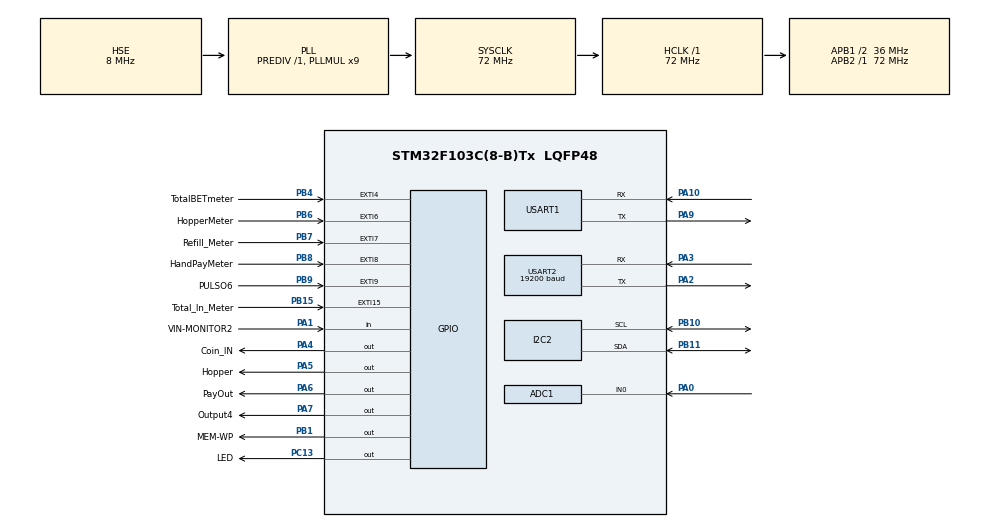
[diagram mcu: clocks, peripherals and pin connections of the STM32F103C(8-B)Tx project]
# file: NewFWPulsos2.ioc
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ADC1.Channel-0\#ChannelRegularConversion=ADC_CHANNEL_0
ADC1.ContinuousConvMode=ENABLE
ADC1.NbrOfConversionFlag=1
ADC1.Rank-0\#ChannelRegularConversion=1
ADC1.SamplingTime-0\#ChannelRegularConversion=ADC_SAMPLETIME_1CYCLE_5
ADC1.master=1
Dma.Request0=USART1_RX
Dma.Request1=USART1_TX
Dma.Request2=USART2_RX
Dma.Request3=USART2_TX
Dma.USART1_RX.0.Direction=DMA_PERIPH_TO_MEMORY
Dma.USART1_RX.0.Instance=DMA1_Channel5
Dma.USART1_RX.0.MemDataAlignment=DMA_MDATAALIGN_BYTE
Dma.USART1_RX.0.MemInc=DMA_MINC_ENABLE
Dma.USART1_RX.0.Mode=DMA_NORMAL
Dma.USART1_RX.0.PeriphDataAlignment=DMA_PDATAALIGN_BYTE
Dma.USART1_RX.0.PeriphInc=DMA_PINC_DISABLE
Dma.USART1_RX.0.Priority=DMA_PRIORITY_LOW
Dma.USART1_TX.1.Direction=DMA_MEMORY_TO_PERIPH
Dma.USART1_TX.1.Instance=DMA1_Channel4
Dma.USART1_TX.1.MemDataAlignment=DMA_MDATAALIGN_BYTE
Dma.USART1_TX.1.MemInc=DMA_MINC_ENABLE
Dma.USART1_TX.1.Mode=DMA_NORMAL
Dma.USART1_TX.1.PeriphDataAlignment=DMA_PDATAALIGN_BYTE
Dma.USART1_TX.1.PeriphInc=DMA_PINC_DISABLE
Dma.USART1_TX.1.Priority=DMA_PRIORITY_LOW
Dma.USART2_RX.2.Direction=DMA_PERIPH_TO_MEMORY
Dma.USART2_RX.2.Instance=DMA1_Channel6
Dma.USART2_RX.2.MemDataAlignment=DMA_MDATAALIGN_HALFWORD
Dma.USART2_RX.2.MemInc=DMA_MINC_ENABLE
Dma.USART2_RX.2.Mode=DMA_CIRCULAR
Dma.USART2_RX.2.PeriphDataAlignment=DMA_PDATAALIGN_HALFWORD
Dma.USART2_RX.2.PeriphInc=DMA_PINC_DISABLE
Dma.USART2_RX.2.Priority=DMA_PRIORITY_LOW
Dma.USART2_TX.3.Direction=DMA_MEMORY_TO_PERIPH
Dma.USART2_TX.3.Instance=DMA1_Channel7
Dma.USART2_TX.3.MemDataAlignment=DMA_MDATAALIGN_HALFWORD
Dma.USART2_TX.3.MemInc=DMA_MINC_ENABLE
Dma.USART2_TX.3.Mode=DMA_NORMAL
Dma.USART2_TX.3.PeriphDataAlignment=DMA_PDATAALIGN_HALFWORD
Dma.USART2_TX.3.PeriphInc=DMA_PINC_DISABLE
Dma.USART2_TX.3.Priority=DMA_PRIORITY_LOW
I2C2.I2C_Mode=I2C_Fast
IWDG.Prescaler=IWDG_PRESCALER_64
IWDG.Reload=3749
Mcu.Family=STM32F1
Mcu.Name=STM32F103C(8-B)Tx
Mcu.Package=LQFP48
NVIC.DMA1_Channel4_IRQn=true\:0\:0\:false\:false\:true\:false\:true\:true
NVIC.DMA1_Channel5_IRQn=true\:0\:0\:false\:false\:true\:false\:true\:true
NVIC.DMA1_Channel6_IRQn=true\:0\:0\:false\:false\:true\:false\:true\:true
NVIC.DMA1_Channel7_IRQn=true\:0\:0\:false\:false\:true\:false\:true\:true
NVIC.EXTI15_10_IRQn=true\:0\:0\:false\:false\:true\:true\:true\:true
NVIC.EXTI4_IRQn=true\:0\:0\:false\:false\:true\:true\:true\:true
NVIC.EXTI9_5_IRQn=true\:0\:0\:false\:false\:true\:true\:true\:true
NVIC.PriorityGroup=NVIC_PRIORITYGROUP_4
NVIC.TIM2_IRQn=true\:0\:0\:false\:false\:true\:true\:true\:true
NVIC.USART1_IRQn=true\:0\:0\:false\:false\:true\:true\:true\:true
NVIC.USART2_IRQn=true\:0\:0\:false\:false\:true\:true\:true\:true
PA0-WKUP.Signal=ADCx_IN0
PA1.GPIO_Label=VIN-MONITOR2
PA1.Signal=GPIO_Input
PA10.Mode=Asynchronous
PA10.Signal=USART1_RX
PA2.Mode=Asynchronous
PA2.Signal=USART2_TX
PA3.Mode=Asynchronous
PA3.Signal=USART2_RX
PA4.GPIO_Label=Coin_IN
PA4.PinState=GPIO_PIN_SET
PA4.Signal=GPIO_Output
PA5.GPIO_Label=Hopper
PA5.PinState=GPIO_PIN_SET
PA5.Signal=GPIO_Output
PA6.GPIO_Label=PayOut
PA6.PinState=GPIO_PIN_SET
PA6.Signal=GPIO_Output
PA7.GPIO_Label=Output4
PA7.PinState=GPIO_PIN_SET
PA7.Signal=GPIO_Output
PA9.Mode=Asynchronous
PA9.Signal=USART1_TX
PB1.GPIO_Label=MEM-WP
PB1.Signal=GPIO_Output
PB10.Mode=I2C
PB10.Signal=I2C2_SCL
PB11.Mode=I2C
PB11.Signal=I2C2_SDA
PB15.GPIO_Label=Total_In_Meter
PB15.Signal=GPXTI15
PB4.GPIO_Label=TotalBETmeter
PB4.Signal=GPXTI4
PB6.GPIO_Label=HopperMeter
PB6.Signal=GPXTI6
PB7.GPIO_Label=Refill_Meter
PB7.Signal=GPXTI7
PB8.GPIO_Label=HandPayMeter
PB8.Signal=GPXTI8
PB9.GPIO_Label=PULSO6
PB9.Signal=GPXTI9
PC13-TAMPER-RTC.GPIO_Label=LED
PC13-TAMPER-RTC.Signal=GPIO_Output
PD0-OSC_IN.Mode=HSE-External-Oscillator
PD0-OSC_IN.Signal=RCC_OSC_IN
PD1-OSC_OUT.Mode=HSE-External-Oscillator
PD1-OSC_OUT.Signal=RCC_OSC_OUT
ProjectManager.HeapSize=0x200
ProjectManager.StackSize=0x400
ProjectManager.TargetToolchain=STM32CubeIDE
RCC.ADCPresc=RCC_ADCPCLK2_DIV6
RCC.AHBFreq_Value=72000000
RCC.APB1CLKDivider=RCC_HCLK_DIV2
RCC.APB1Freq_Value=36000000
RCC.APB1TimFreq_Value=72000000
RCC.APB2Freq_Value=72000000
RCC.APB2TimFreq_Value=72000000
RCC.HCLKFreq_Value=72000000
RCC.PLLMUL=RCC_PLL_MUL9
RCC.PLLSourceVirtual=RCC_PLLSOURCE_HSE
RCC.SYSCLKFreq_VALUE=72000000
RCC.SYSCLKSource=RCC_SYSCLKSOURCE_PLLCLK
RCC.USBFreq_Value=72000000
SH.ADCx_IN0.0=ADC1_IN0,IN0
TIM2.Period=800-1
TIM2.Prescaler=7200-1
TIM4.Prescaler=7200-1
USART1.VirtualMode=VM_ASYNC
USART2.BaudRate=19200
USART2.VirtualMode=VM_ASYNC
USART2.WordLength=WORDLENGTH_9B
VP_IWDG_VS_IWDG.Mode=IWDG_Activate
VP_SYS_VS_ND.Mode=No_Debug
VP_TIM2_VS_ClockSourceINT.Mode=Internal
VP_TIM4_VS_ClockSourceINT.Mode=Internal
board=custom

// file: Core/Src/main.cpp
/* USER CODE BEGIN Header */
/**
  ******************************************************************************
  * @file           : main.cpp
  * @brief          : Main program body
  ******************************************************************************
  * @attention
  *
  * Copyright (c) 2026 STMicroelectronics.
  * All rights reserved.
  *
  * This software is licensed under terms that can be found in the LICENSE file
  * in the root directory of this software component.
  * If no LICENSE file comes with this software, it is provided AS-IS.
  *
  ******************************************************************************
  */
/* USER CODE END Header */
#include "main.h"
#include "../SM_Class/StateMachine.h"

ADC_HandleTypeDef hadc1;

I2C_HandleTypeDef hi2c2;

IWDG_HandleTypeDef hiwdg;

TIM_HandleTypeDef htim2;
TIM_HandleTypeDef htim4;

UART_HandleTypeDef huart1;
UART_HandleTypeDef huart2;
DMA_HandleTypeDef hdma_usart1_rx;
DMA_HandleTypeDef hdma_usart1_tx;
DMA_HandleTypeDef hdma_usart2_rx;
DMA_HandleTypeDef hdma_usart2_tx;

void SystemClock_Config(void);
static void MX_GPIO_Init(void);
static void MX_DMA_Init(void);
static void MX_I2C2_Init(void);
static void MX_TIM4_Init(void);
static void MX_USART1_UART_Init(void);
static void MX_USART2_UART_Init(void);
static void MX_TIM2_Init(void);
static void MX_ADC1_Init(void);
static void MX_IWDG_Init(void);

/* USER CODE BEGIN 0 */

volatile Flags Obj_Flags = {0,0,0,0,0,0};

StateMachine SM_Obj;
static PulseGenerator& pulse = PulseGenerator::getInstance();

/* USER CODE END 0 */

int main(void)
{

  /* MCU Configuration--------------------------------------------------------*/

  /* Reset of all peripherals, Initializes the Flash interface and the Systick. */
  HAL_Init();

  /* Configure the system clock */
  SystemClock_Config();

  /* Initialize all configured peripherals */
  MX_GPIO_Init();
   MX_DMA_Init();
   MX_I2C2_Init();
   MX_TIM4_Init();
   MX_USART1_UART_Init();
   MX_USART2_UART_Init();
   MX_TIM2_Init();
   MX_ADC1_Init();
   MX_IWDG_Init();
  /* USER CODE BEGIN 2 */

  /* ── INTEGRAR: inicializar librería ── */
  pulse.init(&htim2, GPIOA, Hopper_Pin);   /* Pin del hopper */

  HAL_ADCEx_Calibration_Start(&hadc1);
  HAL_ADC_Start(&hadc1);

  SM_Obj.Asigna_Perifericos( &htim4, &huart1, &huart2, &hiwdg,  &hi2c2, &hadc1, &pulse);

  /* USER CODE END 2 */

  /* Infinite loop */
  while (1)
  {

    /* USER CODE BEGIN 3 */

	  SM_Obj.runStateMachine( Obj_Flags) ;

  }
  /* USER CODE END 3 */
}

void SystemClock_Config(void)
{
  RCC_OscInitTypeDef RCC_OscInitStruct = {0};
  RCC_ClkInitTypeDef RCC_ClkInitStruct = {0};
  RCC_PeriphCLKInitTypeDef PeriphClkInit = {0};

  /** Initializes the RCC Oscillators according to the specified parameters
  * in the RCC_OscInitTypeDef structure.
  */
  RCC_OscInitStruct.OscillatorType = RCC_OSCILLATORTYPE_LSI|RCC_OSCILLATORTYPE_HSE;
  RCC_OscInitStruct.HSEState = RCC_HSE_ON;
  RCC_OscInitStruct.HSEPredivValue = RCC_HSE_PREDIV_DIV1;
  RCC_OscInitStruct.HSIState = RCC_HSI_ON;
  RCC_OscInitStruct.LSIState = RCC_LSI_ON;
  RCC_OscInitStruct.PLL.PLLState = RCC_PLL_ON;
  RCC_OscInitStruct.PLL.PLLSource = RCC_PLLSOURCE_HSE;
  RCC_OscInitStruct.PLL.PLLMUL = RCC_PLL_MUL9;
  if (HAL_RCC_OscConfig(&RCC_OscInitStruct) != HAL_OK)
  {
    Error_Handler();
  }

  /** Initializes the CPU, AHB and APB buses clocks
  */
  RCC_ClkInitStruct.ClockType = RCC_CLOCKTYPE_HCLK|RCC_CLOCKTYPE_SYSCLK
                              |RCC_CLOCKTYPE_PCLK1|RCC_CLOCKTYPE_PCLK2;
  RCC_ClkInitStruct.SYSCLKSource = RCC_SYSCLKSOURCE_PLLCLK;
  RCC_ClkInitStruct.AHBCLKDivider = RCC_SYSCLK_DIV1;
  RCC_ClkInitStruct.APB1CLKDivider = RCC_HCLK_DIV2;
  RCC_ClkInitStruct.APB2CLKDivider = RCC_HCLK_DIV1;

  if (HAL_RCC_ClockConfig(&RCC_ClkInitStruct, FLASH_LATENCY_2) != HAL_OK)
  {
    Error_Handler();
  }
  PeriphClkInit.PeriphClockSelection = RCC_PERIPHCLK_ADC;
  PeriphClkInit.AdcClockSelection = RCC_ADCPCLK2_DIV6;
  if (HAL_RCCEx_PeriphCLKConfig(&PeriphClkInit) != HAL_OK)
  {
    Error_Handler();
  }
}

static void MX_ADC1_Init(void)
{

  ADC_ChannelConfTypeDef sConfig = {0};

  /** Common config
  */
  hadc1.Instance = ADC1;
  hadc1.Init.ScanConvMode = ADC_SCAN_DISABLE;
  hadc1.Init.ContinuousConvMode = ENABLE;
  hadc1.Init.DiscontinuousConvMode = DISABLE;
  hadc1.Init.ExternalTrigConv = ADC_SOFTWARE_START;
  hadc1.Init.DataAlign = ADC_DATAALIGN_RIGHT;
  hadc1.Init.NbrOfConversion = 1;
  if (HAL_ADC_Init(&hadc1) != HAL_OK)
  {
    Error_Handler();
  }

  /** Configure Regular Channel
  */
  sConfig.Channel = ADC_CHANNEL_0;
  sConfig.Rank = ADC_REGULAR_RANK_1;
  sConfig.SamplingTime = ADC_SAMPLETIME_1CYCLE_5;
  if (HAL_ADC_ConfigChannel(&hadc1, &sConfig) != HAL_OK)
  {
    Error_Handler();
  }

}

static void MX_I2C2_Init(void)
{

  hi2c2.Instance = I2C2;
  hi2c2.Init.ClockSpeed = 400000;
  hi2c2.Init.DutyCycle = I2C_DUTYCYCLE_2;
  hi2c2.Init.OwnAddress1 = 0;
  hi2c2.Init.AddressingMode = I2C_ADDRESSINGMODE_7BIT;
  hi2c2.Init.DualAddressMode = I2C_DUALADDRESS_DISABLE;
  hi2c2.Init.OwnAddress2 = 0;
  hi2c2.Init.GeneralCallMode = I2C_GENERALCALL_DISABLE;
  hi2c2.Init.NoStretchMode = I2C_NOSTRETCH_DISABLE;
  if (HAL_I2C_Init(&hi2c2) != HAL_OK)
  {
    Error_Handler();
  }

}

static void MX_IWDG_Init(void)
{

  hiwdg.Instance = IWDG;
  hiwdg.Init.Prescaler = IWDG_PRESCALER_64;
  hiwdg.Init.Reload = 3749;
  if (HAL_IWDG_Init(&hiwdg) != HAL_OK)
  {
    Error_Handler();
  }

}

static void MX_TIM2_Init(void)
{

  TIM_ClockConfigTypeDef sClockSourceConfig = {0};
  TIM_MasterConfigTypeDef sMasterConfig = {0};

  htim2.Instance = TIM2;
  htim2.Init.Prescaler = 7200-1;
  htim2.Init.CounterMode = TIM_COUNTERMODE_UP;
  htim2.Init.Period = 800-1;
  htim2.Init.ClockDivision = TIM_CLOCKDIVISION_DIV1;
  htim2.Init.AutoReloadPreload = TIM_AUTORELOAD_PRELOAD_DISABLE;
  if (HAL_TIM_Base_Init(&htim2) != HAL_OK)
  {
    Error_Handler();
  }
  sClockSourceConfig.ClockSource = TIM_CLOCKSOURCE_INTERNAL;
  if (HAL_TIM_ConfigClockSource(&htim2, &sClockSourceConfig) != HAL_OK)
  {
    Error_Handler();
  }
  sMasterConfig.MasterOutputTrigger = TIM_TRGO_RESET;
  sMasterConfig.MasterSlaveMode = TIM_MASTERSLAVEMODE_DISABLE;
  if (HAL_TIMEx_MasterConfigSynchronization(&htim2, &sMasterConfig) != HAL_OK)
  {
    Error_Handler();
  }

}

static void MX_TIM4_Init(void)
{

  TIM_ClockConfigTypeDef sClockSourceConfig = {0};
  TIM_MasterConfigTypeDef sMasterConfig = {0};

  htim4.Instance = TIM4;
  htim4.Init.Prescaler = 7200-1;
  htim4.Init.CounterMode = TIM_COUNTERMODE_UP;
  htim4.Init.Period = 65535;
  htim4.Init.ClockDivision = TIM_CLOCKDIVISION_DIV1;
  htim4.Init.AutoReloadPreload = TIM_AUTORELOAD_PRELOAD_DISABLE;
  if (HAL_TIM_Base_Init(&htim4) != HAL_OK)
  {
    Error_Handler();
  }
  sClockSourceConfig.ClockSource = TIM_CLOCKSOURCE_INTERNAL;
  if (HAL_TIM_ConfigClockSource(&htim4, &sClockSourceConfig) != HAL_OK)
  {
    Error_Handler();
  }
  sMasterConfig.MasterOutputTrigger = TIM_TRGO_RESET;
  sMasterConfig.MasterSlaveMode = TIM_MASTERSLAVEMODE_DISABLE;
  if (HAL_TIMEx_MasterConfigSynchronization(&htim4, &sMasterConfig) != HAL_OK)
  {
    Error_Handler();
  }

}

static void MX_USART1_UART_Init(void)
{

  huart1.Instance = USART1;
  huart1.Init.BaudRate = 115200;
  huart1.Init.WordLength = UART_WORDLENGTH_8B;
  huart1.Init.StopBits = UART_STOPBITS_1;
  huart1.Init.Parity = UART_PARITY_NONE;
  huart1.Init.Mode = UART_MODE_TX_RX;
  huart1.Init.HwFlowCtl = UART_HWCONTROL_NONE;
  huart1.Init.OverSampling = UART_OVERSAMPLING_16;
  if (HAL_UART_Init(&huart1) != HAL_OK)
  {
    Error_Handler();
  }

}

static void MX_USART2_UART_Init(void)
{

  huart2.Instance = USART2;
  huart2.Init.BaudRate = 19200;
  huart2.Init.WordLength = UART_WORDLENGTH_9B;
  huart2.Init.StopBits = UART_STOPBITS_1;
  huart2.Init.Parity = UART_PARITY_NONE;
  huart2.Init.Mode = UART_MODE_TX_RX;
  huart2.Init.HwFlowCtl = UART_HWCONTROL_NONE;
  huart2.Init.OverSampling = UART_OVERSAMPLING_16;
  if (HAL_UART_Init(&huart2) != HAL_OK)
  {
    Error_Handler();
  }

}

static void MX_DMA_Init(void)
{

  /* DMA controller clock enable */
  __HAL_RCC_DMA1_CLK_ENABLE();

  /* DMA interrupt init */
  /* DMA1_Channel4_IRQn interrupt configuration */
  HAL_NVIC_SetPriority(DMA1_Channel4_IRQn, 0, 0);
  HAL_NVIC_EnableIRQ(DMA1_Channel4_IRQn);
  /* DMA1_Channel5_IRQn interrupt configuration */
  HAL_NVIC_SetPriority(DMA1_Channel5_IRQn, 0, 0);
  HAL_NVIC_EnableIRQ(DMA1_Channel5_IRQn);
  /* DMA1_Channel6_IRQn interrupt configuration */
  HAL_NVIC_SetPriority(DMA1_Channel6_IRQn, 0, 0);
  HAL_NVIC_EnableIRQ(DMA1_Channel6_IRQn);
  /* DMA1_Channel7_IRQn interrupt configuration */
  HAL_NVIC_SetPriority(DMA1_Channel7_IRQn, 0, 0);
  HAL_NVIC_EnableIRQ(DMA1_Channel7_IRQn);

}

static void MX_GPIO_Init(void)
{
  GPIO_InitTypeDef GPIO_InitStruct = {0};

  /* GPIO Ports Clock Enable */
  __HAL_RCC_GPIOC_CLK_ENABLE();
  __HAL_RCC_GPIOD_CLK_ENABLE();
  __HAL_RCC_GPIOA_CLK_ENABLE();
  __HAL_RCC_GPIOB_CLK_ENABLE();

  /*Configure GPIO pin Output Level */
  HAL_GPIO_WritePin(LED_GPIO_Port, LED_Pin, GPIO_PIN_RESET);

  /*Configure GPIO pin Output Level */
  HAL_GPIO_WritePin(GPIOA, Coin_IN_Pin|Hopper_Pin|PayOut_Pin|Output4_Pin, GPIO_PIN_SET);

  /*Configure GPIO pin Output Level */
  HAL_GPIO_WritePin(MEM_WP_GPIO_Port, MEM_WP_Pin, GPIO_PIN_RESET);

  /*Configure GPIO pin : LED_Pin */
  GPIO_InitStruct.Pin = LED_Pin;
  GPIO_InitStruct.Mode = GPIO_MODE_OUTPUT_PP;
  GPIO_InitStruct.Pull = GPIO_NOPULL;
  GPIO_InitStruct.Speed = GPIO_SPEED_FREQ_LOW;
  HAL_GPIO_Init(LED_GPIO_Port, &GPIO_InitStruct);

  /*Configure GPIO pin : VIN_MONITOR2_Pin */
  GPIO_InitStruct.Pin = VIN_MONITOR2_Pin;
  GPIO_InitStruct.Mode = GPIO_MODE_INPUT;
  GPIO_InitStruct.Pull = GPIO_NOPULL;
  HAL_GPIO_Init(VIN_MONITOR2_GPIO_Port, &GPIO_InitStruct);

  /*Configure GPIO pins : Coin_IN_Pin Hopper_Pin PayOut_Pin Output4_Pin */
  GPIO_InitStruct.Pin = Coin_IN_Pin|Hopper_Pin|PayOut_Pin|Output4_Pin;
  GPIO_InitStruct.Mode = GPIO_MODE_OUTPUT_PP;
  GPIO_InitStruct.Pull = GPIO_NOPULL;
  GPIO_InitStruct.Speed = GPIO_SPEED_FREQ_LOW;
  HAL_GPIO_Init(GPIOA, &GPIO_InitStruct);

  /*Configure GPIO pin : MEM_WP_Pin */
  GPIO_InitStruct.Pin = MEM_WP_Pin;
  GPIO_InitStruct.Mode = GPIO_MODE_OUTPUT_PP;
  GPIO_InitStruct.Pull = GPIO_NOPULL;
  GPIO_InitStruct.Speed = GPIO_SPEED_FREQ_LOW;
  HAL_GPIO_Init(MEM_WP_GPIO_Port, &GPIO_InitStruct);

  /*Configure GPIO pins : Total_In_Meter_Pin TotalBETmeter_Pin HopperMeter_Pin Refill_Meter_Pin
                           HandPayMeter_Pin PULSO6_Pin */
  GPIO_InitStruct.Pin = Total_In_Meter_Pin|TotalBETmeter_Pin|HopperMeter_Pin|Refill_Meter_Pin
                          |HandPayMeter_Pin|PULSO6_Pin;
  GPIO_InitStruct.Mode = GPIO_MODE_IT_RISING;
  GPIO_InitStruct.Pull = GPIO_NOPULL;
  HAL_GPIO_Init(GPIOB, &GPIO_InitStruct);

  /* EXTI interrupt init*/
  HAL_NVIC_SetPriority(EXTI4_IRQn, 0, 0);
  HAL_NVIC_EnableIRQ(EXTI4_IRQn);

  HAL_NVIC_SetPriority(EXTI9_5_IRQn, 0, 0);
  HAL_NVIC_EnableIRQ(EXTI9_5_IRQn);

  HAL_NVIC_SetPriority(EXTI15_10_IRQn, 0, 0);
  HAL_NVIC_EnableIRQ(EXTI15_10_IRQn);

}

/* USER CODE BEGIN 4 */

void HAL_GPIO_EXTI_Callback(uint16_t GPIO_Pin)
{
	// HAL_GPIO_TogglePin(GPIOC, GPIO_PIN_13);
		 if(HAL_GPIO_ReadPin(Total_In_Meter_GPIO_Port, Total_In_Meter_Pin)){
			 Obj_Flags.Flag_Total_In_Meter = 1;
		 }

		 if(HAL_GPIO_ReadPin(TotalBETmeter_GPIO_Port, TotalBETmeter_Pin)){
			 Obj_Flags.Flag_Total_BET_meter = 1;
			}

			if(HAL_GPIO_ReadPin(HopperMeter_GPIO_Port, HopperMeter_Pin)){
				 Obj_Flags.Flag_HopperMeter = 1;
			}

			if(HAL_GPIO_ReadPin(Refill_Meter_GPIO_Port,Refill_Meter_Pin)){
				 Obj_Flags.Flag_Refill = 1;
				}

			if(HAL_GPIO_ReadPin(HandPayMeter_GPIO_Port,HandPayMeter_Pin)){
				 Obj_Flags.Flag_HandPayMeter = 1;
			}

			if(HAL_GPIO_ReadPin(PULSO6_GPIO_Port, PULSO6_Pin)){
			//	Obj_Flags.Flag_Botton_CashOut = 1;
			}

}

void HAL_UART_TxCpltCallback(UART_HandleTypeDef *huart) {
    SM_Obj.manejarInterrupcionTx(huart);

}

void HAL_UARTEx_RxEventCallback(UART_HandleTypeDef *huart, uint16_t Size) {
	SM_Obj.manejarInterrupcionIdleRx(huart, Size);

}

/* ════════════════════════════════════════════════════════════════════ */
/*  CALLBACK DEL TIMER — OBLIGATORIO                                   */
/*  Conecta el tick del TIM4 con la librería.                          */
/* ════════════════════════════════════════════════════════════════════ */
extern "C" void HAL_TIM_PeriodElapsedCallback(TIM_HandleTypeDef* htim)
{
    /*
     * Si usas otros timers en el proyecto (ej. TIM1 para PWM),
     * sus interrupciones también llegan aquí. La librería las
     * filtra internamente comparando htim->Instance con TIM4.
     */
    PulseGenerator::getInstance().onTimerTick(htim);

    /* Agrega aquí callbacks de otros timers si los necesitas */
    // if (htim->Instance == TIM2) { ... }
}

/* USER CODE END 4 */

void Error_Handler(void)
{
  __disable_irq();
  while (1)
  {
  }
}
